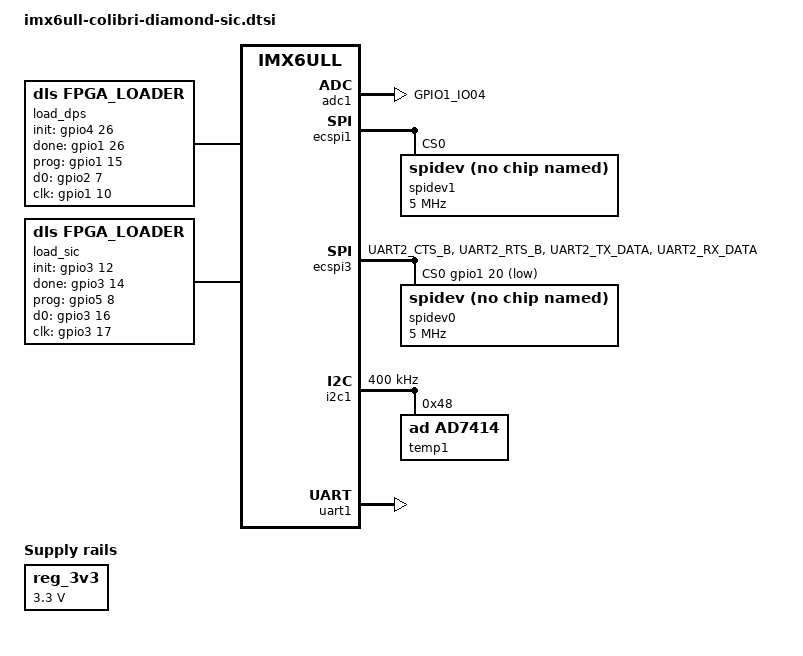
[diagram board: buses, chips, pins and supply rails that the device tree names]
// SPDX-License-Identifier: GPL-2.0-or-later OR MIT
/*
 * Diamond Light Source - System Interface Card (SIC), Colibri iMX6ULL build.
 *
 * Pin assignments follow drawing 1135557 sheet 7 rev J, "Connector for
 * computer on a module: Colibri VF50 / IMX6ULL", with the iMX6ULL resistor
 * options of the "VF50 / IMX6ULL COMPATIBILITY" block fitted
 * (R133 R136 R141 R143 R146 R148 R151 R153 R156 R158 R160 R162) and the
 * VF50 options left off (R129 R134 R139 R142 R144 R147 R149 R152 R155 R157
 * R159 R161).
 *
 * Ported from the Colibri VF50 device tree. Each pin is annotated
 * "SODIMM n: schematic net (VF50 SODIMM/pad)".
 *
 * Module: a NON-Wi-Fi Colibri iMX6ULL is required. SODIMM 89, 93, 127 and
 * 138 are not connected on the Wi-Fi modules.
 *
 * Boot straps: SODIMM 105 (FPGA_TYPE_B4) and 127 (SW1-8) are the i.MX
 * BOOT_MODE0/1 pins with 10k pull-downs on the module. Both must be low when
 * reset is released.
 */

#include <dt-bindings/gpio/gpio.h>

/ {
	chosen {
		stdout-path = "serial0:115200n8";	/* UART_A, /dev/ttymxc0 */
	};

	aliases {
		/*
		 * Same bus numbers as on the VF50:
		 * spi0 = SIC SPI (was dspi0), spi1 = DPS SPI (was dspi1).
		 */
		spi0 = &ecspi3;
		spi1 = &ecspi1;
		/* imx6ul.dtsi also has spi2 = &ecspi3; drop it so ecspi3 has one number */
		/delete-property/ spi2;
	};

	/* Carrier 3.3V rail; imx6ull-colibri.dtsi expects every carrier to define it */
	reg_3v3: regulator-3v3 {
		compatible = "regulator-fixed";
		regulator-name = "3.3V";
		regulator-min-microvolt = <3300000>;
		regulator-max-microvolt = <3300000>;
	};

	/*
	 * DPS FPGA programming (was dfl@1, "load_dps").
	 * Same SODIMM pins on both modules: 98/100/102/104/106.
	 */
	load_dps: dfl@1 {
		compatible = "dls,fpga_loader";
		dev_name = "load_dps";
		pinctrl-names = "default";
		pinctrl-0 = <&pinctrl_dls_fpga1>;
		init-gpios = <&gpio4 26 GPIO_ACTIVE_HIGH>;	/* SODIMM 98:  ADC_Init_B_Micro */
		done-gpios = <&gpio1 26 GPIO_ACTIVE_HIGH>;	/* SODIMM 100: ADC_Done_Micro */
		prog-gpios = <&gpio1 15 GPIO_ACTIVE_HIGH>;	/* SODIMM 102: ADC_Prog_B_Micro */
		d0-gpios = <&gpio2 7 GPIO_ACTIVE_HIGH>;		/* SODIMM 104: ADC_DSO_Micro */
		clk-gpios = <&gpio1 10 GPIO_ACTIVE_HIGH>;	/* SODIMM 106: ADC_Clk_Micro */
		status = "okay";
	};

	/*
	 * SIC FPGA programming (was dfl@2, "load_sic").
	 * Rev J moves INIT_B/DONE/DSO/CLK from SODIMM 134/136/140/142 (VF50) to
	 * 46/48/50/52 (iMX6ULL); PROG_B stays on SODIMM 138.
	 */
	load_sic: dfl@2 {
		compatible = "dls,fpga_loader";
		dev_name = "load_sic";
		pinctrl-names = "default";
		pinctrl-0 = <&pinctrl_dls_fpga2 &pinctrl_snvs_dls_fpga2>;
		init-gpios = <&gpio3 12 GPIO_ACTIVE_HIGH>;	/* SODIMM 46:  IMX6ULL_Init_B (VF50: 134) */
		done-gpios = <&gpio3 14 GPIO_ACTIVE_HIGH>;	/* SODIMM 48:  IMX6UL_DONE    (VF50: 136) */
		prog-gpios = <&gpio5 8 GPIO_ACTIVE_HIGH>;	/* SODIMM 138: Prog_B_Micro_1 (VF50: 138) */
		d0-gpios = <&gpio3 16 GPIO_ACTIVE_HIGH>;	/* SODIMM 50:  IMX6UL_DSO     (VF50: 140) */
		clk-gpios = <&gpio3 17 GPIO_ACTIVE_HIGH>;	/* SODIMM 52:  IMX6ULL_CLK    (VF50: 142) */
		status = "okay";
	};
};

/*
 * PS MEASURE: supply rail monitoring on adc1.
 *   SODIMM 8  ch0 (in_voltage0_raw) = 1V8
 *   SODIMM 6  ch1 (in_voltage1_raw) = 3V3 / 2  (R130/R137 1k/1k)
 *   SODIMM 19 ch4 (in_voltage4_raw) = 1V2      (VF50: SODIMM 59, ADC0_SE2)
 *   SODIMM 4  ch8 (in_voltage8_raw) = 5V0 / 2  (R131/R138 1k/1k)
 *   SODIMM 2  ch9 (in_voltage9_raw) = 1V0
 * SODIMM 19 is UART_C RXD by default; &uart5 must stay disabled.
 */
&adc1 {
	pinctrl-0 = <&pinctrl_adc1 &pinctrl_adc1_vcc1v2>;
	status = "okay";
};

/* DPS SPI CTRL (SPI_DPS_*), standard Colibri SPI on SODIMM 86/88/90/92 (was dspi1) */
&ecspi1 {
	status = "okay";

	/* /dev/spidev1.0, as on the VF50 */
	spidev1: spidev@0 {
		/* "toradex,evalspi" is not accepted by spidev in 6.6 */
		compatible = "rohm,dh2228fv";
		reg = <0>;
		spi-max-frequency = <5000000>;
		/* was fsl,spi-sck-cs-delay = <80> (Vybrid DSPI only) */
		spi-cs-hold-delay-ns = <80>;
	};
};

/*
 * SIC SPI CTRL (SPI0_*), Colibri UART_B pins (was dspi0 on SODIMM 43/71/73/77).
 * Chip select is driven as a GPIO so the SPI core applies the CS hold delay;
 * R140 10k pulls it up on the carrier.
 */
&ecspi3 {
	cs-gpios = <&gpio1 20 GPIO_ACTIVE_LOW>;		/* SODIMM 36 */
	pinctrl-names = "default";
	pinctrl-0 = <&pinctrl_ecspi3>;
	status = "okay";

	/* Was spidev@3 (/dev/spidev0.3); now /dev/spidev0.0 */
	spidev0: spidev@0 {
		compatible = "rohm,dh2228fv";
		reg = <0>;
		spi-max-frequency = <5000000>;
		spi-cs-hold-delay-ns = <80>;
	};
};

/* Ethernet: on-module PHY, already enabled as &fec2 by the module dtsi (was &fec1). */

/* TEMP SENSOR: AD7414 (U19) on Colibri I2C, SODIMM 194/196 (was &i2c0), /dev/i2c-0 */
&i2c1 {
	clock-frequency = <400000>;	/* as on the VF50 */
	status = "okay";

	temp1: ad7414@48 {
		compatible = "ad,ad7414";
		reg = <0x48>;
	};
};

/* DBG COLIBRI: serial console on UART_A, SODIMM 33/35 (was &uart0 /dev/ttyLP0) */
&uart1 {
	status = "okay";
};

/*
 * Pad control translation, Vybrid -> i.MX 6ULL:
 *   Vybrid OBE=0 ("output disabled")  -> i.MX: GPIO stays an input until the
 *                                        driver sets it as output (GDIR)
 *   pull encoding (PUS) is the same      100k PD / 47k PU / 100k PU / 22k PU
 *   Vybrid DSE 3 (50 ohm)             -> i.MX DSE 5 (~52 ohm @3.3V)
 * i.MX bits: HYS 0x10000, PUS 0xc000, PUE 0x2000, PKE 0x1000, SPEED 0xc0,
 *            DSE 0x38, SRE 0x1
 *
 *   VF50 value  meaning                          iMX6ULL value
 *   0x0201      input, Schmitt                   0x10000
 *   0x0001      input                            0x0
 *   0x122D      input, Schmitt, 100k PU          0x1b080
 *   0x0000      in + out disabled (spare)        0x0
 *   0x00ed      100k PU, 50 ohm when output      0xb028
 *   0x00c1      50 ohm when output               0x0028
 *   0x00cd      100k PD, 50 ohm when output      0x3028
 */
&iomuxc {
	/* Replaces the module's default GPIO hogs (as the VF50 file did) */
	pinctrl-names = "default";
	pinctrl-0 = <&pinctrl_sic_hog>;

	pinctrl_sic_hog: sichoggrp {
		fsl,pins = <
			/* TRIG IN */
			MX6UL_PAD_ENET1_RX_DATA0__GPIO2_IO00	0x10000	/* SODIMM 55:  XL_TRIG_IN,  gpio2 0  */
			/* OLD VS NEW SIC (new in rev J; level depends on SIC issue) */
			MX6UL_PAD_CSI_DATA04__GPIO4_IO25	0x10000	/* SODIMM 69:  SIC_VER,     gpio4 25 */
			/* FPGA VER CTRL switches (SW1-8 and SW1-2 are in &iomuxc_snvs) */
			MX6UL_PAD_GPIO1_IO02__GPIO1_IO02	0x0	/* SODIMM 129: SW1-4,       gpio1 2  */
			MX6UL_PAD_NAND_CE1_B__GPIO4_IO14	0x0	/* SODIMM 133: SW1-1,       gpio4 14 */
			/* FPGA VER TYPE (B2..B5 are in &iomuxc_snvs) */
			MX6UL_PAD_GPIO1_IO03__GPIO1_IO03	0x1b080	/* SODIMM 89:  FPGA_TYPE_B1, gpio1 3 */
			/* SPARE TO DPS */
			MX6UL_PAD_JTAG_TCK__GPIO1_IO14		0x0	/* SODIMM 99:  SPARE6,  gpio1 14 (VF50: 99)  */
			MX6UL_PAD_LCD_DATA13__GPIO3_IO18	0x0	/* SODIMM 54:  SPARE7,  gpio3 18 (VF50: 144) */
			MX6UL_PAD_LCD_DATA03__GPIO3_IO08	0x0	/* SODIMM 58:  SPARE8,  gpio3 8  (VF50: 146) */
			MX6UL_PAD_UART3_RTS_B__GPIO1_IO27	0x0	/* SODIMM 186: SPARE9,  gpio1 27 (VF50: 184) */
			/* TEMP SENSOR alert */
			MX6UL_PAD_ENET1_TX_DATA0__GPIO2_IO03	0x10000	/* SODIMM 188: TEMP_ALRT,   gpio2 3  */
		>;
	};

	pinctrl_adc1_vcc1v2: adc1vcc1v2grp {
		fsl,pins = <
			MX6UL_PAD_GPIO1_IO04__GPIO1_IO04	0x3000	/* SODIMM 19: IMX6FULL_VCC1V2 (ADC1_IN4) */
		>;
	};

	pinctrl_ecspi3: ecspi3grp {
		fsl,pins = <
			MX6UL_PAD_UART2_CTS_B__ECSPI3_MOSI	0x000a0	/* SODIMM 32: iMX6ULL_SPI13_MOSI */
			MX6UL_PAD_UART2_RTS_B__ECSPI3_MISO	0x100a0	/* SODIMM 34: iMX6ULL_SPI13_MISO */
			MX6UL_PAD_UART2_TX_DATA__GPIO1_IO20	0x000a0	/* SODIMM 36: iMX6ULL_SPI13_CS   */
			MX6UL_PAD_UART2_RX_DATA__ECSPI3_SCLK	0x000a0	/* SODIMM 38: iMX6ULL_SPI13_CLK  */
		>;
	};

	pinctrl_dls_fpga1: dlsfpga1grp {
		fsl,pins = <
			/* DPS FPGA PROG */
			MX6UL_PAD_CSI_DATA05__GPIO4_IO26	0x0	/* SODIMM 98:  ADC_Init_B_Micro */
			MX6UL_PAD_UART3_CTS_B__GPIO1_IO26	0x0	/* SODIMM 100: ADC_Done_Micro   */
			MX6UL_PAD_JTAG_TRST_B__GPIO1_IO15	0xb028	/* SODIMM 102: ADC_Prog_B_Micro */
			MX6UL_PAD_ENET1_RX_ER__GPIO2_IO07	0x0028	/* SODIMM 104: ADC_DSO_Micro    */
			MX6UL_PAD_JTAG_MOD__GPIO1_IO10		0x3028	/* SODIMM 106: ADC_Clk_Micro    */
		>;
	};

	pinctrl_dls_fpga2: dlsfpga2grp {
		fsl,pins = <
			/* SIC FPGA PROG (PROG_B is in &iomuxc_snvs) */
			MX6UL_PAD_LCD_DATA07__GPIO3_IO12	0x0		/* SODIMM 46: IMX6ULL_Init_B */
			MX6UL_PAD_LCD_DATA09__GPIO3_IO14	0x0		/* SODIMM 48: IMX6UL_DONE    */
			MX6UL_PAD_LCD_DATA11__GPIO3_IO16	0x0028	/* SODIMM 50: IMX6UL_DSO     */
			MX6UL_PAD_LCD_DATA12__GPIO3_IO17	0x3028	/* SODIMM 52: IMX6ULL_CLK    */
		>;
	};
};

/* IMPORTANT: Pin 46 is part of the standard LCD display interface. */
/* You MUST disable the lcdif node to prevent a resource conflict. */
&lcdif {
    status = "disabled";
};

&iomuxc_snvs {
	/* Replaces the module's default SNVS GPIO hogs */
	pinctrl-names = "default";
	pinctrl-0 = <&pinctrl_snvs_sic_hog>;

	pinctrl_snvs_sic_hog: snvssichoggrp {
		fsl,pins = <
			/* FPGA VER CTRL switches */
			/* BOOT STRAP: must be low when reset is released (10k PD on module) */
			MX6ULL_PAD_BOOT_MODE1__GPIO5_IO11	0x0	/* SODIMM 127: SW1-8,        gpio5 11 */
			MX6ULL_PAD_SNVS_TAMPER5__GPIO5_IO05	0x0	/* SODIMM 131: SW1-2,        gpio5 5  */
			/* FPGA VER TYPE */
			MX6ULL_PAD_SNVS_TAMPER6__GPIO5_IO06	0x1b080	/* SODIMM 93:  FPGA_TYPE_B2, gpio5 6  */
			MX6ULL_PAD_SNVS_TAMPER3__GPIO5_IO03	0x1b080	/* SODIMM 95:  FPGA_TYPE_B3, gpio5 3  */
			/* BOOT STRAP: the 10k module pull-down overrides this 100k pull-up */
			MX6ULL_PAD_BOOT_MODE0__GPIO5_IO10	0x1b080	/* SODIMM 105: FPGA_TYPE_B4, gpio5 10 */
			MX6ULL_PAD_SNVS_TAMPER4__GPIO5_IO04	0x1b080	/* SODIMM 107: FPGA_TYPE_B5, gpio5 4  */
		>;
	};

	pinctrl_snvs_dls_fpga2: snvsdlsfpga2grp {
		fsl,pins = <
			MX6ULL_PAD_SNVS_TAMPER8__GPIO5_IO08	0xb028	/* SODIMM 138: Prog_B_Micro_1 */
		>;
	};
};
